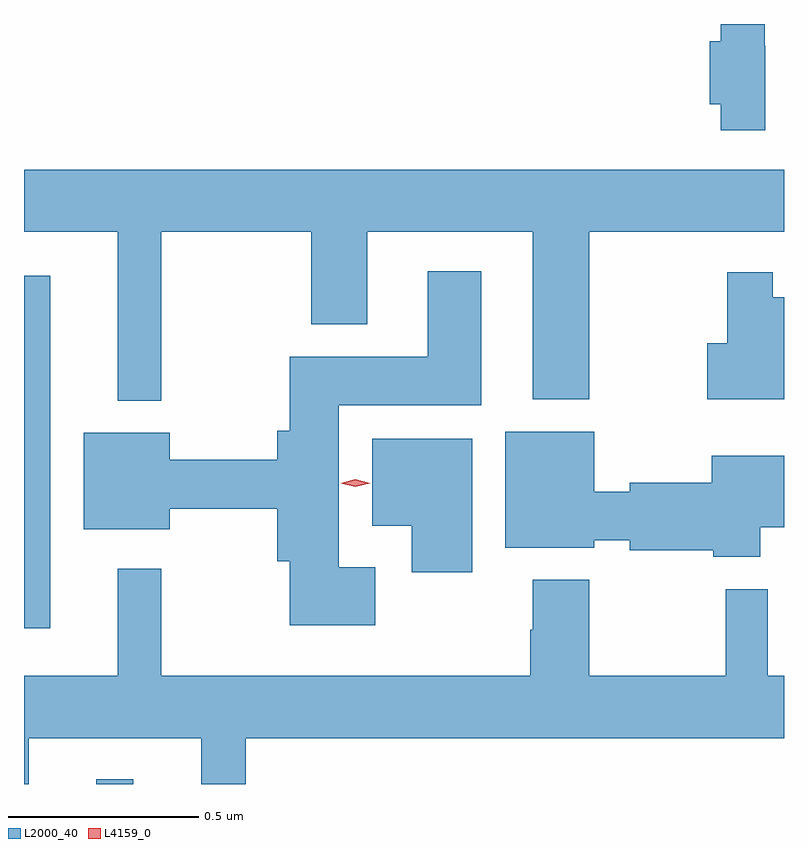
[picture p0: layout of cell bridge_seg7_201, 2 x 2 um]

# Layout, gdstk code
import gdstk
lib = gdstk.Library(unit=1e-6, precision=1e-09)
def R(c, l, rs):  # rectangles x0, y0, x1, y1
    for r in rs: c.add(gdstk.rectangle(r[:2], r[2:], *l))
def P(c, l, *ps):  # polygons
    for p in ps: c.add(gdstk.Polygon(p, *l))
L2000_40 = (2000, 40)
L4159_0 = (4159, 0)

bridge_seg7_201 = lib.new_cell('bridge_seg7_201')
R(bridge_seg7_201, L2000_40, [(424.364,1005.823,424.461,1005.835), (424.174,1006.233,424.243,1007.161)])
P(bridge_seg7_201, L2000_40, [(426.124,1007.766),(426.123,1007.766),(426.123,1007.823),(426.007,1007.823),(426.007,1007.778),(425.978,1007.778),(425.978,1007.612),(426.007,1007.612),(426.007,1007.544),(426.124,1007.544)],
  [(424.535,1007.276),(424.93,1007.276),(424.93,1007.033),(425.077,1007.033),(425.077,1007.276),(425.513,1007.276),(425.513,1006.835),(425.661,1006.835),(425.661,1007.276),(426.174,1007.276),(426.174,1007.44),(424.174,1007.44),(424.174,1007.276),(424.421,1007.276),(424.421,1006.832),(424.535,1006.832)],
  [(425.098,1006.393),(425.002,1006.393),(425.002,1006.82),(425.377,1006.82),(425.377,1007.173),(425.237,1007.173),(425.237,1006.948),(424.873,1006.948),(424.873,1006.753),(424.841,1006.753),(424.841,1006.676),(424.558,1006.676),(424.558,1006.747),(424.331,1006.747),(424.331,1006.493),(424.558,1006.493),(424.558,1006.548),(424.841,1006.548),(424.841,1006.409),(424.873,1006.409),(424.873,1006.241),(425.098,1006.241)],
  [(426.174,1007.104),(426.145,1007.104),(426.145,1007.17),(426.024,1007.17),(426.024,1006.983),(425.972,1006.983),(425.972,1006.835),(426.174,1006.835)],
  [(426.112,1006.499),(426.174,1006.499),(426.174,1006.687),(425.984,1006.687),(425.984,1006.616),(425.768,1006.616),(425.768,1006.592),(425.674,1006.592),(425.674,1006.75),(425.441,1006.75),(425.441,1006.445),(425.674,1006.445),(425.674,1006.464),(425.768,1006.464),(425.768,1006.438),(425.988,1006.438),(425.988,1006.421),(426.112,1006.421)],
  [(425.353,1006.732),(425.09,1006.732),(425.09,1006.502),(425.195,1006.502),(425.195,1006.38),(425.353,1006.38)],
  [(424.187,1005.944),(424.64,1005.944),(424.64,1005.823),(424.757,1005.823),(424.757,1005.944),(426.174,1005.944),(426.174,1006.108),(426.131,1006.108),(426.131,1006.336),(426.021,1006.336),(426.021,1006.108),(425.661,1006.108),(425.661,1006.36),(425.513,1006.36),(425.513,1006.229),(425.506,1006.229),(425.506,1006.108),(424.535,1006.108),(424.535,1006.39),(424.421,1006.39),(424.421,1006.108),(424.174,1006.108),(424.174,1005.823),(424.187,1005.823)])
P(bridge_seg7_201, L4159_0, [(425.046,1006.605),(425.007,1006.614),(425.006,1006.614),(425.007,1006.615),(425.046,1006.625),(425.085,1006.615),(425.085,1006.615),(425.085,1006.615)])

lib.write_gds('bridge_seg7_201.gds')
